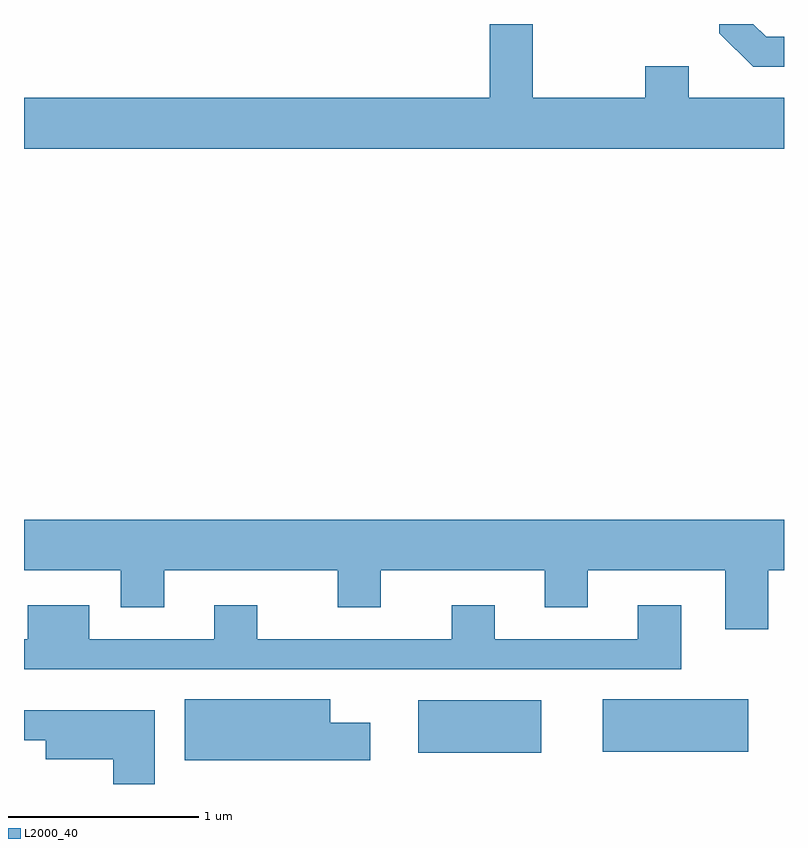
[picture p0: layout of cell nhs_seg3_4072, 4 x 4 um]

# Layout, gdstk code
import gdstk
lib = gdstk.Library(unit=1e-6, precision=1e-09)
def R(c, l, rs):  # rectangles x0, y0, x1, y1
    for r in rs: c.add(gdstk.rectangle(r[:2], r[2:], *l))
def P(c, l, *ps):  # polygons
    for p in ps: c.add(gdstk.Polygon(p, *l))
L2000_40 = (2000, 40)

nhs_seg3_4072 = lib.new_cell('nhs_seg3_4072')
R(nhs_seg3_4072, L2000_40, [(305.686,1236.056,306.334,1236.334), (306.656,1236.061,307.424,1236.339)])
P(nhs_seg3_4072, L2000_40, [(307.611,1239.504),(307.109,1239.504),(307.109,1239.669),(306.881,1239.669),(306.881,1239.504),(306.289,1239.504),(306.289,1239.892),(306.061,1239.892),(306.061,1239.504),(303.611,1239.504),(303.611,1239.236),(307.611,1239.236)],
  [(307.611,1239.824),(307.517,1239.824),(307.449,1239.892),(307.271,1239.892),(307.271,1239.844),(307.449,1239.666),(307.611,1239.666)],
  [(307.529,1237.016),(307.611,1237.016),(307.611,1237.284),(303.611,1237.284),(303.611,1237.016),(304.121,1237.016),(304.121,1236.821),(304.349,1236.821),(304.349,1237.016),(305.261,1237.016),(305.261,1236.821),(305.489,1236.821),(305.489,1237.016),(306.351,1237.016),(306.351,1236.821),(306.579,1236.821),(306.579,1237.016),(307.301,1237.016),(307.301,1236.706),(307.529,1236.706)],
  [(307.069,1236.834),(306.841,1236.834),(306.841,1236.654),(306.089,1236.654),(306.089,1236.834),(305.861,1236.834),(305.861,1236.654),(304.839,1236.654),(304.839,1236.834),(304.611,1236.834),(304.611,1236.654),(303.954,1236.654),(303.954,1236.834),(303.631,1236.834),(303.631,1236.654),(303.611,1236.654),(303.611,1236.496),(307.069,1236.496)],
  [(305.434,1236.214),(305.224,1236.214),(305.224,1236.339),(304.456,1236.339),(304.456,1236.016),(305.434,1236.016)],
  [(304.299,1236.279),(303.611,1236.279),(303.611,1236.121),(303.726,1236.121),(303.726,1236.021),(304.081,1236.021),(304.081,1235.892),(304.299,1235.892)])

lib.write_gds('nhs_seg3_4072.gds')
